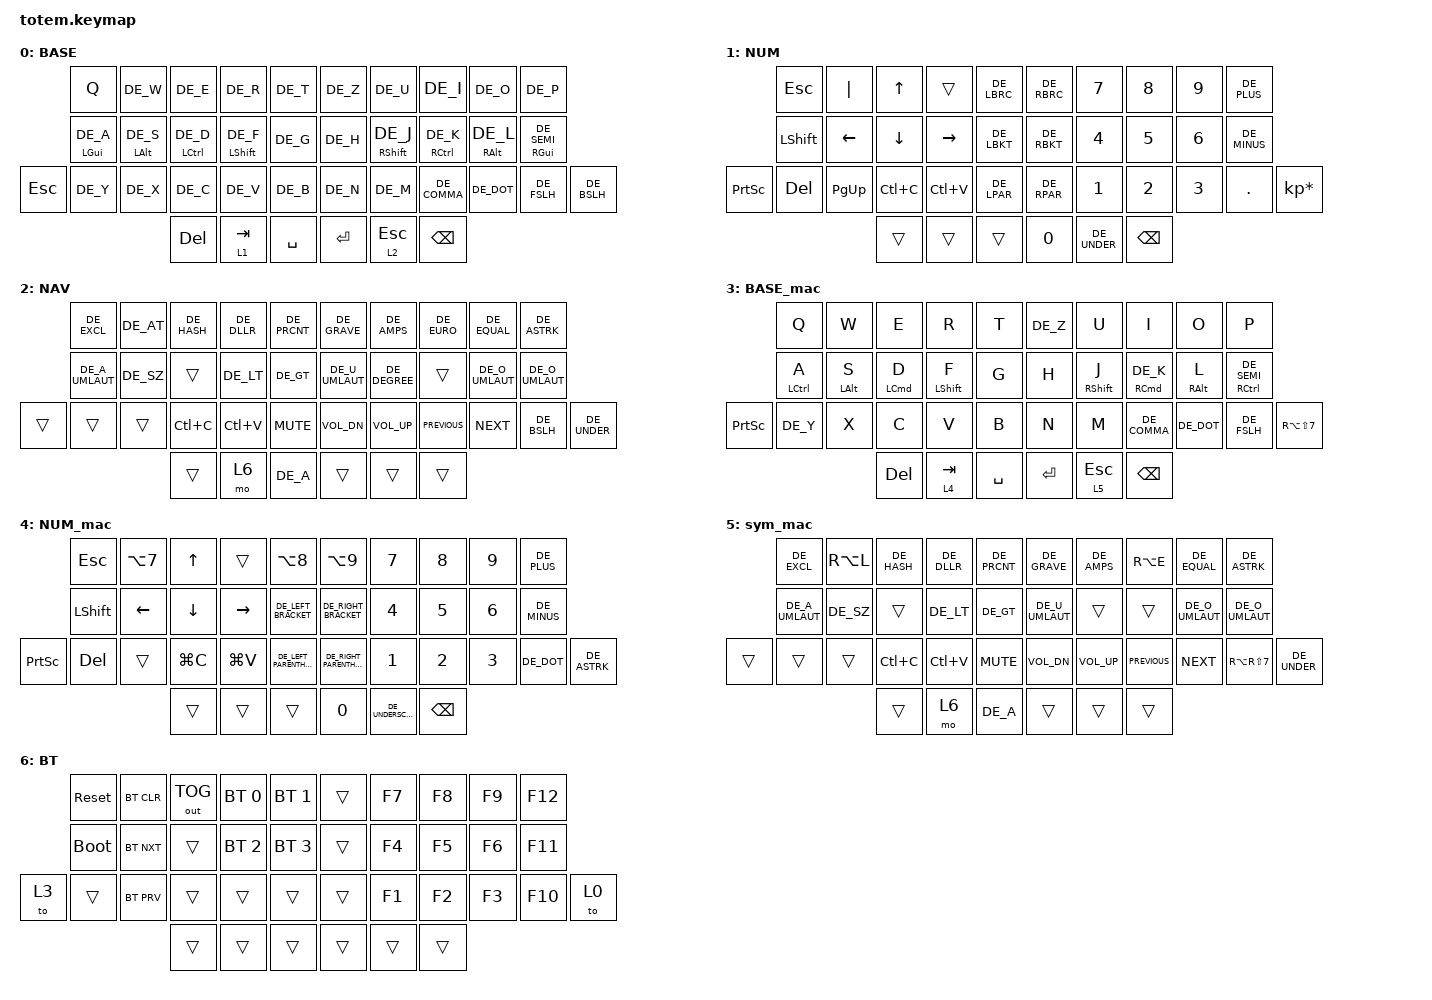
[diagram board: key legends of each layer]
//
//                                                        ▀▀▀▀▀     ▀▀▀▀▀          ▀▀█▀▀
//                                                        ▄▀▀▀▄  ▄  ▄▀▀▀▄  ▄  ▄▀▀▀▄  █  ▄▀▀▀▄
//                                                        █   █  █  █   █  █  █   █  █  █   █
//                                                         ▀▀▀   █   ▀▀▀   █   ▀▀▀   ▀   ▀▀▀
//                                                               █      ▄▄▄█▄▄▄    █   █  
//                                                               ▀      █  █  █     █▄█
//                                                             ▀▀▀▀▀    █  █  █      ▀
//                                                                      ▀  ▀  ▀
//
// ▄▄▄▄▄▄▄▄▄▄▄▄▄▄▄▄▄▄▄▄▄▄▄▄▄▄▄▄▄▄▄▄▄▄▄▄▄▄▄▄▄▄▄▄▄▄▄▄▄▄▄▄▄▄▄▄▄▄▄▄▄▄▄▄▄▄▄▄▄▄▄▄▄▄▄▄▄▄▄▄▄▄▄▄▄▄▄▄▄▄▄▄▄▄▄▄▄▄▄▄▄▄▄▄▄▄▄▄▄▄▄▄▄▄▄▄▄▄▄▄▄▄▄▄▄▄▄▄▄▄▄▄▄▄▄▄▄▄▄▄▄▄▄▄▄▄▄▄▄

#include "keys_de.h"
#include <behaviors.dtsi>
#include <dt-bindings/zmk/bt.h>
#include <dt-bindings/zmk/keys.h>
#include <dt-bindings/zmk/outputs.h>

#define BASE 0
#define NUM  1
#define NAV  2
#define BT   3

&mt {
    quick-tap-ms = <100>;
    global-quick-tap;
    flavor = "tap-preferred";
    tapping-term-ms = <170>;
};

/ {
    chosen { zmk,battery = &vbatt; };

    vbatt: vbatt {
        compatible = "zmk,battery-nrf-vddh";
        label = "VBATT";
    };

    combos {
        compatible = "zmk,combos";

        /* Top corners (Q+P) = bootloader */

        combo_boot {
            key-positions = <0 4>;
            bindings = <&bootloader>;
        };

        combo_esc {
            timeout-ms = <50>;
            key-positions = <0 1>;
            bindings = <&kp ESC>;
            slow-release;
        };

        combo_caps {
            timeout-ms = <50>;
            key-positions = <15 19>;
            bindings = <&caps_word>;
        };

        combo_singlequote {
            timeout-ms = <75>;
            key-positions = <7 8>;
            bindings = <&kp DE_SQT>;
        };

        combo_doublequote {
            timeout-ms = <75>;
            key-positions = <8 9>;
            bindings = <&kp DE_DQT>;
        };

        combo_minus {
            timeout-ms = <50>;
            key-positions = <17 18>;
            bindings = <&kp DE_MINUS>;
            slow-release;
        };

        combo_plus {
            timeout-ms = <50>;
            key-positions = <16 17>;
            bindings = <&kp DE_PLUS>;
            slow-release;
        };

        combo_equal {
            timeout-ms = <50>;
            key-positions = <27 28>;
            bindings = <&kp DE_EQUAL>;
            slow-release;
        };

        combo_underscore {
            timeout-ms = <50>;
            key-positions = <16 17 18>;
            bindings = <&kp DE_UNDER>;
        };

        combo_worddelete {
            timeout-ms = <50>;
            key-positions = <18 19>;
            bindings = <&kp LC(BSPC)>;
        };

        combo_questionmark {
            timeout-ms = <50>;
            key-positions = <28 29>;
            bindings = <&kp DE_QMARK>;
        };

        combo_worddelete_mac {
            bindings = <&kp RA(BACKSPACE)>;
            key-positions = <18 19>;
            layers = <3>;
        };

        combo_enter {
            bindings = <&kp ENTER>;
            key-positions = <16 18>;
        };
    };

    /*    macros {
         gif: gif {
            label = "giphy";
            compatible = "zmk,behavior-macro";
            #binding-cells = <0>;
            bindings
                = <&macro_press &kp LSHFT>
                , <&macro_tap &kp N2>
                , <&macro_release &kp LSHFT>
                , <&macro_tap &kp G &kp I &kp F>
                ;
        }; 
    };
*/

    behaviors {
        hl: homerow_mods_left {
            compatible = "zmk,behavior-hold-tap";
            label = "homerow mods left";
            #binding-cells = <2>;

            //flavor = "hold-preferred";
            // flavor = "tap-preferred";

            flavor = "balanced";
            tapping-term-ms = <155>;

            //quick-tap-ms = <100>;
            //hold-while-undecided;
            // global-quick-tap;

            bindings = <&kp>, <&kp>;

            // opposite side hand keys

            hold-trigger-key-positions = <5 6 7 8 9 15 16 17 18 19 25 26 27 28 29 30 31 32 33 34 35>;
        };

        hr: homerow_mods_right {
            compatible = "zmk,behavior-hold-tap";
            label = "homerow mods right";
            #binding-cells = <2>;

            //flavor = "hold-preferred";
            // flavor = "tap-preferred";

            flavor = "balanced";
            tapping-term-ms = <155>;

            //hold-while-undecided;
            //quick-tap-ms = <100>;
            // global-quick-tap;

            bindings = <&kp>, <&kp>;

            // opposite side hand keys

            hold-trigger-key-positions = <0 1 2 3 4 10 11 12 13 14 20 21 22 23 24 30 31 32 33 34 35 25>;
        };
    };

    keymap {
        compatible = "zmk,keymap";

        // ▄▄▄▄▄▄▄▄▄▄▄▄▄▄▄▄▄▄▄▄▄▄▄▄▄▄▄▄▄▄▄▄▄▄▄▄▄▄▄▄▄▄▄▄▄▄▄▄▄▄▄▄▄▄▄▄▄▄▄▄▄▄▄▄▄▄▄▄▄▄▄▄▄▄▄▄▄▄▄▄▄▄▄▄▄▄▄▄▄▄▄▄▄▄▄▄▄▄▄▄▄▄▄▄▄▄▄▄▄▄▄▄▄▄▄▄▄▄▄▄▄▄▄▄▄▄▄▄▄▄▄▄▄▄▄▄▄▄▄▄▄▄▄▄▄▄▄▄▄

        base_layer {
            // ┏━━━━━━━━━━━━━━━━━━━━━━━━━━━━━━━━━━━━━━━┓

            label = "BASE";

            // ┗━━━━━━━━━━━━━━━━━━━━━━━━━━━━━━━━━━━━━━━┛
            //             ┏━━━━━━━━━━━┳━━━━━━━━━━━┳━━━━━━━━━━━┳━━━━━━━━━━━┳━━━━━━━━━━━┓   ┏━━━━━━━━━━━┳━━━━━━━━━━━┳━━━━━━━━━━━┳━━━━━━━━━━━┳━━━━━━━━━━━┓
            //             ┃     Q     ┃     W     ┃     E     ┃     R     ┃     T     ┃   ┃     Y     ┃     U     ┃     I     ┃     O     ┃     P     ┃
            //             ┣━━━━━━━━━━━╋━━━━━━━━━━━╋━━━━━━━━━━━╋━━━━━━━━━━━╋━━━━━━━━━━━┫   ┣━━━━━━━━━━━╋━━━━━━━━━━━╋━━━━━━━━━━━╋━━━━━━━━━━━╋━━━━━━━━━━━┫
            //             ┃     A     ┃     S     ┃     D     ┃     F     ┃     G     ┃   ┃     H     ┃     J     ┃     K     ┃     L     ┃     ;     ┃
            // ┏━━━━━━━━━━━╋━━━━━━━━━━━╋━━━━━━━━━━━╋━━━━━━━━━━━╋━━━━━━━━━━━╋━━━━━━━━━━━┫   ┣━━━━━━━━━━━╋━━━━━━━━━━━╋━━━━━━━━━━━╋━━━━━━━━━━━╋━━━━━━━━━━━╋━━━━━━━━━━━┓
            // ┃           ┃     Z     ┃     X     ┃     C     ┃     V     ┃     B     ┃   ┃     N     ┃     M     ┃     ,     ┃     .     ┃     /     ┃     \     ┃
            // ┗━━━━━━━━━━━┻━━━━━━━━━━━┻━━━━━━━━━━━╋━━━━━━━━━━━╋━━━━━━━━━━━╋━━━━━━━━━━━┫   ┣━━━━━━━━━━━╋━━━━━━━━━━━╋━━━━━━━━━━━╋━━━━━━━━━━━┻━━━━━━━━━━━┻━━━━━━━━━━━┛
            //                                     ┃    DEL    ┃    TAB    ┃    SPC    ┃   ┃   ENTER   ┃   BSPC    ┃     \     ┃
            //                                     ┗━━━━━━━━━━━┻━━━━━━━━━━━┻━━━━━━━━━━━┛   ┗━━━━━━━━━━━┻━━━━━━━━━━━┻━━━━━━━━━━━┛

            bindings = <
            &kp Q          &kp DE_W       &kp DE_E        &kp DE_R        &kp DE_T     &kp DE_Z   &kp DE_U        &kp DE_I        &kp DE_O       &kp DE_P
            &hl LGUI DE_A  &hl LALT DE_S  &hl LCTRL DE_D  &hl LSHFT DE_F  &kp DE_G     &kp DE_H   &hr RSHFT DE_J  &hr RCTRL DE_K  &hr RALT DE_L  &hr RGUI DE_SEMI
&kp ESCAPE  &kp DE_Y       &kp DE_X       &kp DE_C        &kp DE_V        &kp DE_B     &kp DE_N   &kp DE_M        &kp DE_COMMA    &kp DE_DOT     &kp DE_FSLH       &kp DE_BSLH
                                          &kp DEL         &lt 1 TAB       &kp SPACE    &kp ENTER  &lt 2 ESCAPE    &kp BACKSPACE
            >;
        };

        NUM_layer {
            // ┏━━━━━━━━━━━━━━━━━━━━━━━━━━━━━━━━━━━━━━━┓

            label = "NUM";

            // ┗━━━━━━━━━━━━━━━━━━━━━━━━━━━━━━━━━━━━━━━┛
            //             ┏━━━━━━━━━━━┳━━━━━━━━━━━┳━━━━━━━━━━━┳━━━━━━━━━━━┳━━━━━━━━━━━┓   ┏━━━━━━━━━━━┳━━━━━━━━━━━┳━━━━━━━━━━━┳━━━━━━━━━━━┳━━━━━━━━━━━┓
            //             ┃    ESC    ┃     |     ┃    UP     ┃           ┃     {     ┃   ┃     }     ┃     7     ┃     8     ┃     9     ┃     +     ┃
            //             ┣━━━━━━━━━━━╋━━━━━━━━━━━╋━━━━━━━━━━━╋━━━━━━━━━━━╋━━━━━━━━━━━┫   ┣━━━━━━━━━━━╋━━━━━━━━━━━╋━━━━━━━━━━━╋━━━━━━━━━━━╋━━━━━━━━━━━┫
            //             ┃   LSHFT   ┃   LEFT    ┃    DOWN   ┃   RIGHT   ┃     [     ┃   ┃     ]     ┃     4     ┃     5     ┃     6     ┃     -     ┃
            // ┏━━━━━━━━━━━╋━━━━━━━━━━━╋━━━━━━━━━━━╋━━━━━━━━━━━╋━━━━━━━━━━━╋━━━━━━━━━━━┫   ┣━━━━━━━━━━━╋━━━━━━━━━━━╋━━━━━━━━━━━╋━━━━━━━━━━━╋━━━━━━━━━━━╋━━━━━━━━━━━┓
            // ┃           ┃    DEL    ┃  EMAIL2   ┃   Copy    ┃   Paste   ┃     (     ┃   ┃     )     ┃     1     ┃     2     ┃     3     ┃     .     ┃     *     ┃
            // ┗━━━━━━━━━━━┻━━━━━━━━━━━┻━━━━━━━━━━━╋━━━━━━━━━━━╋━━━━━━━━━━━╋━━━━━━━━━━━┫   ┣━━━━━━━━━━━╋━━━━━━━━━━━╋━━━━━━━━━━━╋━━━━━━━━━━━┻━━━━━━━━━━━┻━━━━━━━━━━━┛
            //                                     ┃           ┃    GIF    ┃    ADJ    ┃   ┃     0     ┃   BSPC    ┃     _     ┃
            //                                     ┗━━━━━━━━━━━┻━━━━━━━━━━━┻━━━━━━━━━━━┛   ┗━━━━━━━━━━━┻━━━━━━━━━━━┻━━━━━━━━━━━┛

            bindings = <
                 &kp ESC    &kp PIPE   &kp UP     &trans     &kp DE_LBRC    &kp DE_RBRC  &kp N7        &kp N8    &kp N9  &kp DE_PLUS
                 &kp LSHFT  &kp LEFT   &kp DOWN   &kp RIGHT  &kp DE_LBKT    &kp DE_RBKT  &kp N4        &kp N5    &kp N6  &kp DE_MINUS
&kp PRINTSCREEN  &kp DEL    &kp PG_UP  &kp LC(C)  &kp LC(V)  &kp DE_LPAR    &kp DE_RPAR  &kp N1        &kp N2    &kp N3  &kp DOT       &kp KP_MULTIPLY
                                       &trans     &trans     &trans         &kp N0       &kp DE_UNDER  &kp BSPC
            >;
        };

        nav_layer {
            // ┏━━━━━━━━━━━━━━━━━━━━━━━━━━━━━━━━━━━━━━━┓

            label = "NAV";

            // ┗━━━━━━━━━━━━━━━━━━━━━━━━━━━━━━━━━━━━━━━┛
            //             ┏━━━━━━━━━━━┳━━━━━━━━━━━┳━━━━━━━━━━━┳━━━━━━━━━━━┳━━━━━━━━━━━┓   ┏━━━━━━━━━━━┳━━━━━━━━━━━┳━━━━━━━━━━━┳━━━━━━━━━━━┳━━━━━━━━━━━┓
            //             ┃           ┃           ┃     UP    ┃           ┃     {     ┃   ┃     }     ┃     7     ┃     8     ┃     9     ┃     +     ┃
            //             ┣━━━━━━━━━━━╋━━━━━━━━━━━╋━━━━━━━━━━━╋━━━━━━━━━━━╋━━━━━━━━━━━┫   ┣━━━━━━━━━━━╋━━━━━━━━━━━╋━━━━━━━━━━━╋━━━━━━━━━━━╋━━━━━━━━━━━┫
            //             ┃   SHIFT   ┃   LEFT    ┃    DOWN   ┃   RIGHT   ┃     [     ┃   ┃     ]     ┃     4     ┃     5     ┃     6     ┃     -     ┃
            // ┏━━━━━━━━━━━╋━━━━━━━━━━━╋━━━━━━━━━━━╋━━━━━━━━━━━╋━━━━━━━━━━━╋━━━━━━━━━━━┫   ┣━━━━━━━━━━━╋━━━━━━━━━━━╋━━━━━━━━━━━╋━━━━━━━━━━━╋━━━━━━━━━━━╋━━━━━━━━━━━┓
            // ┃           ┃           ┃   P UP    ┃  C LOCK   ┃  P DOWN   ┃     (     ┃   ┃     )     ┃     1     ┃     2     ┃     3     ┃     *     ┃           ┃
            // ┗━━━━━━━━━━━┻━━━━━━━━━━━┻━━━━━━━━━━━╋━━━━━━━━━━━╋━━━━━━━━━━━╋━━━━━━━━━━━┫   ┣━━━━━━━━━━━╋━━━━━━━━━━━╋━━━━━━━━━━━╋━━━━━━━━━━━┻━━━━━━━━━━━┻━━━━━━━━━━━┛
            //                                     ┃           ┃    TAB    ┃    SPC    ┃   ┃    DEL    ┃     0     ┃           ┃
            //                                     ┗━━━━━━━━━━━┻━━━━━━━━━━━┻━━━━━━━━━━━┛   ┗━━━━━━━━━━━┻━━━━━━━━━━━┻━━━━━━━━━━━┛

            bindings = <
        &kp DE_EXCL      &kp DE_AT  &kp DE_HASH  &kp DE_DLLR  &kp DE_PRCNT    &kp DE_GRAVE     &kp DE_AMPS    &kp DE_EURO     &kp DE_EQUAL     &kp DE_ASTRK
        &kp DE_A_UMLAUT  &kp DE_SZ  &trans       &kp DE_LT    &kp DE_GT       &kp DE_U_UMLAUT  &kp DE_DEGREE  &trans          &kp DE_O_UMLAUT  &kp DE_O_UMLAUT
&trans  &trans           &trans     &kp LC(C)    &kp LC(V)    &kp C_MUTE      &kp C_VOL_DN     &kp C_VOL_UP   &kp C_PREVIOUS  &kp C_NEXT       &kp DE_BSLH      &kp DE_UNDER
                                    &trans       &mo 6        &kp DE_A        &trans           &trans         &trans
            >;
        };

        BASE_mac {
            bindings = <
                 &kp Q               &kp W           &kp E               &kp R             &kp T        &kp DE_Z   &kp U              &kp I                   &kp O            &kp P
                 &hl LEFT_CONTROL A  &hl LEFT_ALT S  &hl LEFT_COMMAND D  &hl LEFT_SHIFT F  &kp G        &kp H      &hr RIGHT_SHIFT J  &hr RIGHT_COMMAND DE_K  &hr RIGHT_ALT L  &hr RIGHT_CONTROL DE_SEMI
&kp PRINTSCREEN  &kp DE_Y            &kp X           &kp C               &kp V             &kp B        &kp N      &kp M              &kp DE_COMMA            &kp DE_DOT       &kp DE_FSLH                &kp RA(LS(NUMBER_7))
                                                     &kp DELETE          &lt 4 TAB         &kp SPACE    &kp ENTER  &lt 5 ESC          &kp BSPC
            >;
        };

        NUM_mac {
            bindings = <
                 &kp ESCAPE      &kp LA(N7)      &kp UP          &trans           &kp LA(NUMBER_8)           &kp LA(N9)                &kp NUMBER_7       &kp N8         &kp N9        &kp DE_PLUS
                 &kp LEFT_SHIFT  &kp LEFT_ARROW  &kp DOWN_ARROW  &kp RIGHT_ARROW  &kp DE_LEFT_BRACKET        &kp DE_RIGHT_BRACKET      &kp NUMBER_4       &kp NUMBER_5   &kp NUMBER_6  &kp DE_MINUS
&kp PRINTSCREEN  &kp DELETE      &trans          &kp LG(C)       &kp LG(V)        &kp DE_LEFT_PARENTHESIS    &kp DE_RIGHT_PARENTHESIS  &kp NUMBER_1       &kp N2         &kp NUMBER_3  &kp DE_DOT    &kp DE_ASTRK
                                                 &trans          &trans           &trans                     &kp NUMBER_0              &kp DE_UNDERSCORE  &kp BACKSPACE
            >;
        };

        SYM_mac {
            label = "sym_mac";
            bindings = <
        &kp DE_EXCL      &kp RA(L)  &kp DE_HASH  &kp DE_DLLR  &kp DE_PRCNT    &kp DE_GRAVE     &kp DE_AMPS   &kp RA(E)       &kp DE_EQUAL     &kp DE_ASTRK
        &kp DE_A_UMLAUT  &kp DE_SZ  &trans       &kp DE_LT    &kp DE_GT       &kp DE_U_UMLAUT  &trans        &trans          &kp DE_O_UMLAUT  &kp DE_O_UMLAUT
&trans  &trans           &trans     &kp LC(C)    &kp LC(V)    &kp C_MUTE      &kp C_VOL_DN     &kp C_VOL_UP  &kp C_PREVIOUS  &kp C_NEXT       &kp RA(RS(N7))   &kp DE_UNDER
                                    &trans       &mo 6        &kp DE_A        &trans           &trans        &trans
            >;
        };

        BT_layer {
            // ┏━━━━━━━━━━━━━━━━━━━━━━━━━━━━━━━━━━━━━━━┓

            label = "BT";

            // ┗━━━━━━━━━━━━━━━━━━━━━━━━━━━━━━━━━━━━━━━┛
            //             ┏━━━━━━━━━━━┳━━━━━━━━━━━┳━━━━━━━━━━━┳━━━━━━━━━━━┳━━━━━━━━━━━┓   ┏━━━━━━━━━━━┳━━━━━━━━━━━┳━━━━━━━━━━━┳━━━━━━━━━━━┳━━━━━━━━━━━┓
            //             ┃   RESET   ┃ BT CLEAR  ┃  OUT TOG  ┃ Profile1  ┃ Profile2  ┃   ┃           ┃    F7     ┃    F8     ┃    F9     ┃    F12    ┃
            //             ┣━━━━━━━━━━━╋━━━━━━━━━━━╋━━━━━━━━━━━╋━━━━━━━━━━━╋━━━━━━━━━━━┫   ┣━━━━━━━━━━━╋━━━━━━━━━━━╋━━━━━━━━━━━╋━━━━━━━━━━━╋━━━━━━━━━━━┫
            //             ┃ BOOTLOAD  ┃ BT NEXT   ┃           ┃ Profile3  ┃ Profile4  ┃   ┃           ┃    F4     ┃    F5     ┃    F6     ┃    F11    ┃
            // ┏━━━━━━━━━━━╋━━━━━━━━━━━╋━━━━━━━━━━━╋━━━━━━━━━━━╋━━━━━━━━━━━╋━━━━━━━━━━━┫   ┣━━━━━━━━━━━╋━━━━━━━━━━━╋━━━━━━━━━━━╋━━━━━━━━━━━╋━━━━━━━━━━━╋━━━━━━━━━━━┓
            // ┃           ┃           ┃ BT PREV   ┃           ┃           ┃           ┃   ┃           ┃    F1     ┃    F2     ┃    F3     ┃    F10    ┃           ┃
            // ┗━━━━━━━━━━━┻━━━━━━━━━━━┻━━━━━━━━━━━╋━━━━━━━━━━━╋━━━━━━━━━━━╋━━━━━━━━━━━┫   ┣━━━━━━━━━━━╋━━━━━━━━━━━╋━━━━━━━━━━━╋━━━━━━━━━━━┻━━━━━━━━━━━┻━━━━━━━━━━━┛
            //                                     ┃           ┃           ┃           ┃   ┃           ┃           ┃           ┃
            //                                     ┗━━━━━━━━━━━┻━━━━━━━━━━━┻━━━━━━━━━━━┛   ┗━━━━━━━━━━━┻━━━━━━━━━━━┻━━━━━━━━━━━┛

            bindings = <
       &sys_reset   &bt BT_CLR  &out OUT_TOG  &bt BT_SEL 0  &bt BT_SEL 1    &trans  &kp F7  &kp F8  &kp F9  &kp F12
       &bootloader  &bt BT_NXT  &trans        &bt BT_SEL 2  &bt BT_SEL 3    &trans  &kp F4  &kp F5  &kp F6  &kp F11
&to 3  &trans       &bt BT_PRV  &trans        &trans        &trans          &trans  &kp F1  &kp F2  &kp F3  &kp F10  &to 0
                                &trans        &trans        &trans          &trans  &trans  &trans
            >;
        };
    };
};
